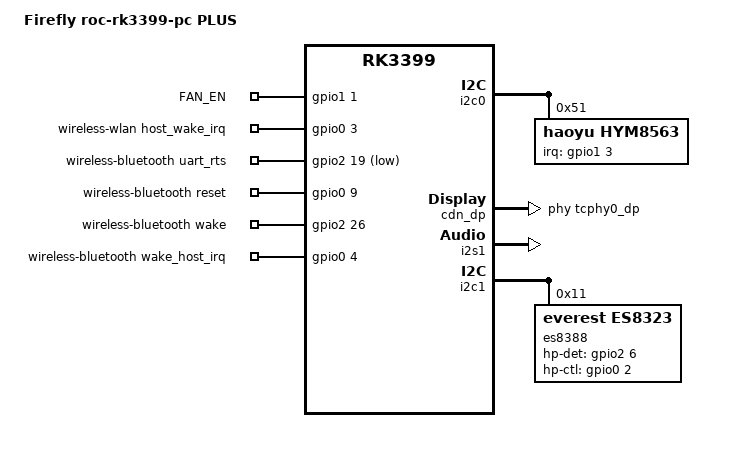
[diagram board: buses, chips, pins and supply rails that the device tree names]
/dts-v1/;

#include "rk3399-roc-pc.dtsi"

/ {
	model = "Firefly roc-rk3399-pc PLUS";
	compatible = "firefly,roc-rk3399-pc", "rockchip,rk3399";

	es8388-sound {
		status = "okay";
		compatible = "simple-audio-card";
		simple-audio-card,format = "i2s";
		simple-audio-card,name = "rockchip,es8388-codec";
		simple-audio-card,mclk-fs = <256>;
		simple-audio-card,cpu {
			sound-dai = <&i2s1>;
			system-clock-frequency = <11289600>;
		};
		simple-audio-card,codec {
			sound-dai = <&es8388>;
			system-clock-frequency = <11289600>;
		};
	};
	/delete-node/ vcc_hub_en-regulator;

	leds {
		compatible = "gpio-leds";

		FAN_EN {
			//fan power
			gpios = <&gpio1 1 GPIO_ACTIVE_HIGH>;	//GPIO1_A1
			default-state = "on";
		};
	};

	wireless-wlan {
		compatible = "wlan-platdata";
		rockchip,grf = <&grf>;
		wifi_chip_type = "ap6356s";
		sdio_vref = <1800>;
		WIFI,host_wake_irq = <&gpio0 3 GPIO_ACTIVE_HIGH>; /* GPIO0_a3 */
		status = "okay";
	};

	wireless-bluetooth {
		compatible = "bluetooth-platdata";
		clocks = <&rk808 1>;
		clock-names = "ext_clock";
		//wifi-bt-power-toggle;
		uart_rts_gpios = <&gpio2 19 GPIO_ACTIVE_LOW>; /* GPIO2_C3 */
		pinctrl-names = "default", "rts_gpio";
		pinctrl-0 = <&uart0_rts>;
		pinctrl-1 = <&uart0_gpios>;
		//BT,power_gpio  = <&gpio3 19 GPIO_ACTIVE_HIGH>; /* GPIOx_xx */
		BT,reset_gpio    = <&gpio0 9 GPIO_ACTIVE_HIGH>; /* GPIO0_B1 */
		BT,wake_gpio     = <&gpio2 26 GPIO_ACTIVE_HIGH>; /* GPIO2_D2 */
		BT,wake_host_irq = <&gpio0 4 GPIO_ACTIVE_HIGH>; /* GPIO0_A4 */
		status = "okay";
	};
};


// /* RTC */

&rk808{
	rtc {
		status = "disabled";
	};
};

&i2c0 {
	status = "okay";
	hym8563: hym8563@51 {
		compatible = "haoyu,hym8563";
		reg = <0x51>;
		interrupt-parent = <&gpio1>;
		interrupts = <3 IRQ_TYPE_EDGE_FALLING>;
	};
};


&i2c4 {
	/delete-node/ fusb30x@22;
};

&fusb0 {
	//fusb302,role = "ROLE_MODE_DFP";
	vbus-5v-gpios = <&gpio1 13 GPIO_ACTIVE_HIGH>;
};

&cdn_dp {
	status = "okay";
	extcon = <&fusb0>;
	phys = <&tcphy0_dp>;
};

&tcphy1 {
	/delete-property/ extcon;
};

&u2phy1 {
	/delete-property/ extcon;
};

&usbdrd3_1 {
	/delete-property/ extcon;
};







&i2s1 {
	status = "okay";
};

&dmc {
	status = "disabled";
};

&rk808 {
	/delete-property/ pmic,hold-gpio;
};

&i2c1 {
	status = "okay";
	es8388: es8388@11 {
		compatible = "everest,es8323";
		status = "okay";
		reg = <0x11>;
		hp-det-gpio = <&gpio2 6 GPIO_ACTIVE_HIGH>;
		hp-ctl-gpio = <&gpio0 2 GPIO_ACTIVE_HIGH>;
		clock-names = "mclk";
		clocks = <&cru SCLK_I2S_8CH_OUT>;
		pinctrl-names = "default";
		pinctrl-0 = <&i2s_8ch_mclk>;
		pinctrl-1 = <&ear_ctl_h>;
		#sound-dai-cells = <0>;
	};
};



&pinctrl {
	 es8388-pins {
		ear_ctl_h: ear-ctl-h {
                        rockchip,pins = <0 2 RK_FUNC_GPIO &pcfg_pull_down>;
                };
	};

	wireless-bluetooth {
		uart0_gpios: uart0-gpios {
			rockchip,pins =
				<2 19 RK_FUNC_GPIO &pcfg_pull_none>;
		};
	};

};

/*
&fusb0 {
	status = "disabled";
};


&fusb1 {
	status = "disabled";
};
*/
